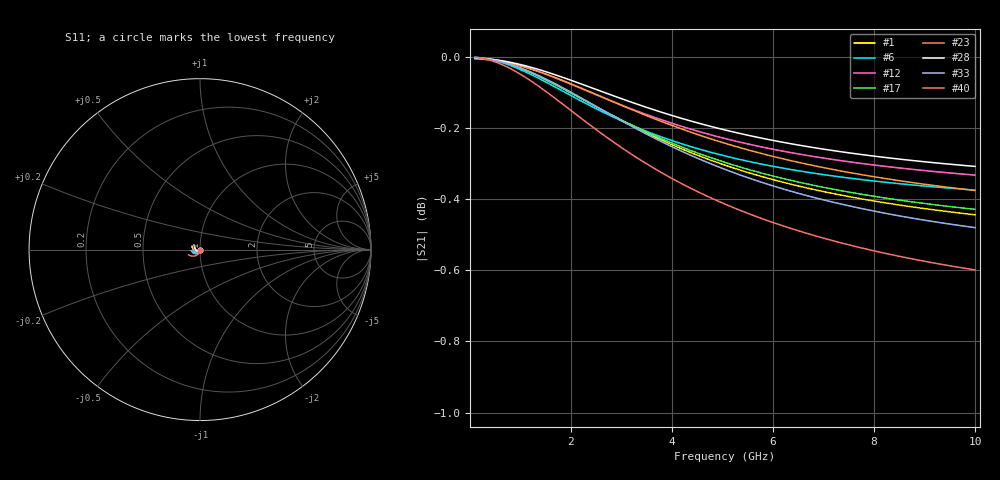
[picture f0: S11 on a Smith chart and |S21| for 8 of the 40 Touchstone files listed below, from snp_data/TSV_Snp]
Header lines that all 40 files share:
! Touchstone file exported from HFSS 2024.1.0
!  Design:  TSV1
!  Setup:  Setup1
!  Solution:  Sweep
! Variables:
# GHz S MA R 50.000000
! Terminal data exported
! Port[1] = TSV22_T1
! Port[2] = TSV22_T2
Fixed: hbump = 3um, lrdl = 252.1521522um, p = 40, t = 500um, trdl = 3um, wrdl = 24.89489489um
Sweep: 100 MHz to 10 GHz
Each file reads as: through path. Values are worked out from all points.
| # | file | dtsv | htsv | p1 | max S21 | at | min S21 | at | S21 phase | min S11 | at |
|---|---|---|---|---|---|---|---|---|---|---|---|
| 1 | dut280.s2p | 7.4um | 99.69um | 50.46um | 0.00 dB | 100 MHz | -0.4 dB | 10 GHz | -4 deg at 5.1 GHz | -59.5 dB | 100 MHz |
| 2 | dut281.s2p | 12.08um | 55.27um | 47.55um | 0.00 dB | 100 MHz | -0.3 dB | 10 GHz | -3 deg at 5.1 GHz | -59.7 dB | 100 MHz |
| 3 | dut282.s2p | 9.54um | 59.31um | 56.29um | 0.00 dB | 100 MHz | -0.3 dB | 10 GHz | -3 deg at 5.1 GHz | -61.6 dB | 100 MHz |
| 4 | dut283.s2p | 5.03um | 75.11um | 41.93um | 0.00 dB | 100 MHz | -0.3 dB | 10 GHz | -3 deg at 5.1 GHz | -62.8 dB | 100 MHz |
| 5 | dut284.s2p | 11.17um | 86.93um | 44.1um | 0.00 dB | 100 MHz | -0.5 dB | 10 GHz | -4 deg at 5.1 GHz | -56.3 dB | 100 MHz |
| 6 | dut285.s2p | 13.44um | 62.07um | 58.31um | 0.00 dB | 100 MHz | -0.4 dB | 10 GHz | -3 deg at 5.1 GHz | -58.2 dB | 100 MHz |
| 7 | dut286.s2p | 7.84um | 65.86um | 43.63um | 0.00 dB | 100 MHz | -0.3 dB | 10 GHz | -3 deg at 5.1 GHz | -61.6 dB | 100 MHz |
| 8 | dut287.s2p | 9.4um | 96.86um | 41.91um | 0.00 dB | 100 MHz | -0.5 dB | 10 GHz | -4 deg at 5.1 GHz | -56.9 dB | 100 MHz |
| 9 | dut288.s2p | 9.07um | 57.59um | 49.89um | 0.00 dB | 100 MHz | -0.3 dB | 10 GHz | -3 deg at 5.1 GHz | -61.8 dB | 100 MHz |
| 10 | dut289.s2p | 14.7um | 50.52um | 54.64um | 0.00 dB | 100 MHz | -0.3 dB | 10 GHz | -3 deg at 5.1 GHz | -58.8 dB | 100 MHz |
| 11 | dut290.s2p | 5.62um | 50.93um | 42.8um | 0.00 dB | 100 MHz | -0.2 dB | 10 GHz | -2 deg at 5.1 GHz | -65.0 dB | 100 MHz |
| 12 | dut291.s2p | 7.57um | 70.47um | 47.01um | 0.00 dB | 100 MHz | -0.3 dB | 10 GHz | -3 deg at 5.1 GHz | -61.7 dB | 100 MHz |
| 13 | dut292.s2p | 8.63um | 58.4um | 48.46um | 0.00 dB | 100 MHz | -0.3 dB | 10 GHz | -3 deg at 5.1 GHz | -62.0 dB | 100 MHz |
| 14 | dut293.s2p | 12.37um | 91.08um | 43.05um | 0.00 dB | 100 MHz | -0.6 dB | 10 GHz | -4 deg at 5.1 GHz | -54.9 dB | 100 MHz |
| 15 | dut294.s2p | 14.13um | 76.53um | 58.79um | 0.00 dB | 100 MHz | -0.5 dB | 10 GHz | -4 deg at 5.1 GHz | -55.7 dB | 100 MHz |
| 16 | dut295.s2p | 11.17um | 65.91um | 45.47um | 0.00 dB | 100 MHz | -0.4 dB | 10 GHz | -3 deg at 5.1 GHz | -58.7 dB | 100 MHz |
| 17 | dut296.s2p | 10.68um | 76.21um | 45.61um | 0.00 dB | 100 MHz | -0.4 dB | 10 GHz | -3 deg at 5.1 GHz | -57.9 dB | 100 MHz |
| 18 | dut297.s2p | 8.75um | 98.34um | 57.74um | 0.00 dB | 100 MHz | -0.5 dB | 10 GHz | -4 deg at 5.1 GHz | -58.4 dB | 100 MHz |
| 19 | dut298.s2p | 6.54um | 60.26um | 55.28um | 0.00 dB | 100 MHz | -0.3 dB | 10 GHz | -3 deg at 5.1 GHz | -64.4 dB | 100 MHz |
| 20 | dut299.s2p | 6.47um | 96.39um | 42.89um | 0.00 dB | 100 MHz | -0.4 dB | 10 GHz | -4 deg at 5.1 GHz | -60.5 dB | 100 MHz |
| 21 | dut300.s2p | 9.12um | 75.57um | 50.48um | 0.00 dB | 100 MHz | -0.4 dB | 10 GHz | -3 deg at 5.1 GHz | -59.7 dB | 100 MHz |
| 22 | dut301.s2p | 6.72um | 63.64um | 58.51um | 0.00 dB | 100 MHz | -0.3 dB | 10 GHz | -3 deg at 5.1 GHz | -64.2 dB | 100 MHz |
| 23 | dut302.s2p | 5.18um | 98.82um | 48.7um | -0.01 dB | 100 MHz | -0.4 dB | 10 GHz | -4 deg at 5.1 GHz | -61.7 dB | 100 MHz |
| 24 | dut303.s2p | 9.93um | 82.28um | 50.55um | 0.00 dB | 100 MHz | -0.4 dB | 10 GHz | -4 deg at 5.1 GHz | -58.2 dB | 100 MHz |
| 25 | dut304.s2p | 13.69um | 80.86um | 44.53um | 0.00 dB | 100 MHz | -0.5 dB | 10 GHz | -4 deg at 5.1 GHz | -55.0 dB | 100 MHz |
| 26 | dut305.s2p | 6.28um | 66.39um | 53.73um | 0.00 dB | 100 MHz | -0.3 dB | 10 GHz | -3 deg at 5.1 GHz | -63.9 dB | 100 MHz |
| 27 | dut306.s2p | 11.87um | 92.89um | 48.03um | 0.00 dB | 100 MHz | -0.5 dB | 10 GHz | -4 deg at 5.1 GHz | -55.4 dB | 100 MHz |
| 28 | dut307.s2p | 6.03um | 71.86um | 45.05um | 0.00 dB | 100 MHz | -0.3 dB | 10 GHz | -3 deg at 5.1 GHz | -63.0 dB | 100 MHz |
| 29 | dut308.s2p | 7.36um | 86.81um | 44.72um | 0.00 dB | 100 MHz | -0.4 dB | 10 GHz | -4 deg at 5.1 GHz | -60.2 dB | 100 MHz |
| 30 | dut309.s2p | 9.27um | 78.54um | 44.9um | 0.00 dB | 100 MHz | -0.4 dB | 10 GHz | -3 deg at 5.1 GHz | -58.9 dB | 100 MHz |
| 31 | dut310.s2p | 5.92um | 51.4um | 51.37um | 0.00 dB | 100 MHz | -0.2 dB | 10 GHz | -2 deg at 5.1 GHz | -65.4 dB | 100 MHz |
| 32 | dut311.s2p | 7.4um | 78.1um | 46.83um | 0.00 dB | 100 MHz | -0.4 dB | 10 GHz | -3 deg at 5.1 GHz | -61.1 dB | 100 MHz |
| 33 | dut312.s2p | 8.44um | 96.67um | 40.61um | 0.00 dB | 100 MHz | -0.5 dB | 10 GHz | -4 deg at 5.1 GHz | -57.9 dB | 100 MHz |
| 34 | dut313.s2p | 6.16um | 68.67um | 47.07um | 0.00 dB | 100 MHz | -0.3 dB | 10 GHz | -3 deg at 5.1 GHz | -63.3 dB | 100 MHz |
| 35 | dut314.s2p | 8.41um | 89.44um | 44.88um | 0.00 dB | 100 MHz | -0.4 dB | 10 GHz | -4 deg at 5.1 GHz | -58.8 dB | 100 MHz |
| 36 | dut315.s2p | 14.98um | 50.6um | 52.85um | 0.00 dB | 100 MHz | -0.3 dB | 10 GHz | -3 deg at 5.1 GHz | -58.5 dB | 100 MHz |
| 37 | dut316.s2p | 14.03um | 68.66um | 51.11um | 0.00 dB | 100 MHz | -0.4 dB | 10 GHz | -3 deg at 5.1 GHz | -56.4 dB | 100 MHz |
| 38 | dut317.s2p | 6.99um | 62.13um | 53.25um | 0.00 dB | 100 MHz | -0.3 dB | 10 GHz | -3 deg at 5.1 GHz | -63.6 dB | 100 MHz |
| 39 | dut318.s2p | 8.83um | 91.66um | 41.72um | 0.00 dB | 100 MHz | -0.5 dB | 10 GHz | -4 deg at 5.1 GHz | -57.9 dB | 100 MHz |
| 40 | dut319.s2p | 14.59um | 88.03um | 46.69um | 0.00 dB | 100 MHz | -0.6 dB | 10 GHz | -4 deg at 5.1 GHz | -53.6 dB | 100 MHz |
